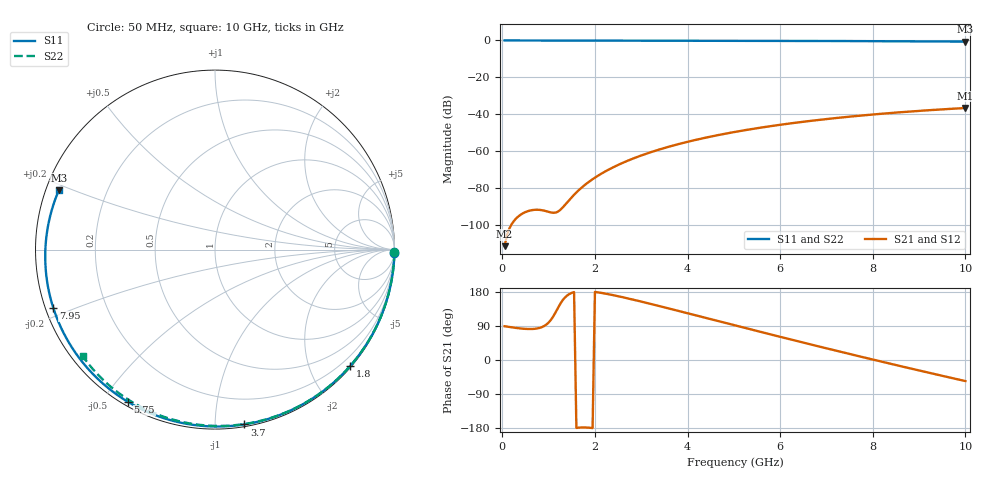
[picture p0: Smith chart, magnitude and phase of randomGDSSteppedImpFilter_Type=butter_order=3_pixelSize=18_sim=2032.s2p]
! freq	dB(S11)	phase(S11)	dB(S12)	phase(S12)
!  dB(S21)	phase(S21)	dB(S22)	phase(S22)
!S-par simulation data
#  GHz  S  DB  R 50
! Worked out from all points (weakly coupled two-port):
!   200 points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, 50 MHz to 10 GHz, reference 50 ohm
!   highest |S21| = -36.55 dB at 10 GHz (marker M1); lowest = -111.3 dB at 50 MHz (marker M2)
!   lowest |S11| = -0.6 dB at 10 GHz (marker M3), VSWR 27.89, Z = 1.85 + j9.19 ohm
!   |S11| at or under -10 dB: nowhere
!   |S22| runs from -0.5 to 0.0 dB; largest |S21 - S12| = 0
!   S11 on the Smith chart (normalised r, x): 50 MHz: 0, -99; 1.8 GHz: 0.02, -2.70; 3.7 GHz: 0.01, -1.18; 5.75 GHz: 0.02, -0.58; 7.95 GHz: 0.02, -0.17; 10 GHz: 0.04, +0.18
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0.05  -0.00 -1.2  -111.28 89.1  -111.28 89.1  -0.00 -0.8
0.4  -0.01 -9.2  -94.18 83.1  -94.18 83.1  -0.01 -6.5
0.8  -0.02 -18.3  -91.63 84.5  -91.63 84.5  -0.02 -13.0
1.2  -0.03 -27.3  -92.62 137.0  -92.62 137.0  -0.02 -19.4
1.65  -0.05 -37.3  -81.01 -178.5  -81.01 -178.5  -0.03 -26.6
1.7  -0.05 -38.4  -79.89 -178.1  -79.89 -178.1  -0.03 -27.4
1.75  -0.05 -39.5  -78.83 -177.9  -78.83 -177.9  -0.04 -28.2
1.8  -0.05 -40.6  -77.81 -178.1  -77.81 -178.1  -0.04 -29.0
2.1  -0.06 -47.2  -72.64 177.9  -72.64 177.9  -0.04 -33.7
2.5  -0.07 -55.7  -67.34 168.4  -67.34 168.4  -0.05 -39.9
2.9  -0.08 -64.2  -63.15 157.1  -63.15 157.1  -0.06 -46.0
3.4  -0.10 -74.4  -58.92 142.0  -58.92 142.0  -0.07 -53.5
3.7  -0.11 -80.5  -56.76 132.8  -56.76 132.8  -0.08 -58.0
4.35  -0.13 -93.3  -52.81 112.5  -52.81 112.5  -0.10 -67.5
5.05  -0.16 -106.7  -49.36 90.6  -49.36 90.6  -0.12 -77.4
5.75  -0.20 -119.8  -46.51 68.9  -46.51 68.9  -0.15 -87.0
6.7  -0.26 -137.2  -43.37 39.8  -43.37 39.8  -0.19 -99.6
7.35  -0.32 -149.1  -41.59 20.4  -41.59 20.4  -0.23 -108.0
7.95  -0.37 -160.2  -40.17 2.7  -40.17 2.7  -0.28 -115.6
8.35  -0.42 -167.7  -39.32 -9.0  -39.32 -9.0  -0.31 -120.6
9.2  -0.52 175.7  -37.75 -33.3  -37.75 -33.3  -0.39 -131.2
10  -0.62 159.1  -36.55 -55.6  -36.55 -55.6  -0.48 -141.1
